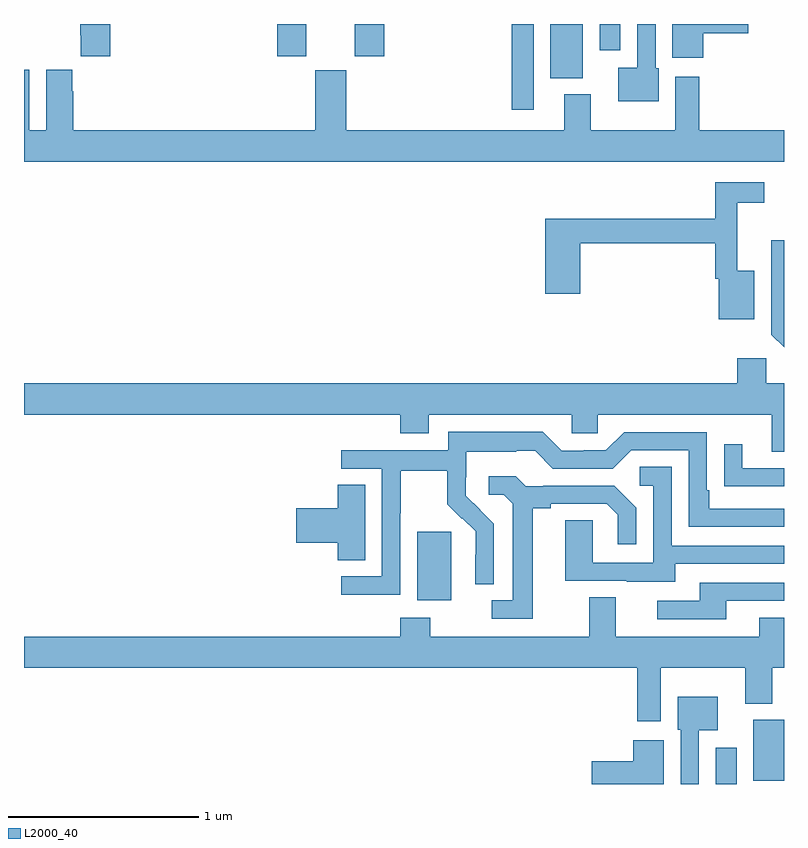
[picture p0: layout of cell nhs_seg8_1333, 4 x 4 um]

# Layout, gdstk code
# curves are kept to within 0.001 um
import gdstk
lib = gdstk.Library(unit=1e-6, precision=1e-09)
def R(c, l, rs):  # rectangles x0, y0, x1, y1
    for r in rs: c.add(gdstk.rectangle(r[:2], r[2:], *l))
def P(c, l, *ps):  # polygons
    for p in ps: c.add(gdstk.Polygon(p, *l))
L2000_40 = (2000, 40)

nhs_seg8_1333 = lib.new_cell('nhs_seg8_1333')
R(nhs_seg8_1333, L2000_40, [(198.641,1103.9,198.751,1104.091), (198.839,1103.918,199,1104.238), (197.069,1104.866,197.248,1105.227), (197.566,1107.45,197.682,1107.9), (197.771,1107.614,197.941,1107.9), (196.334,1107.729,196.486,1107.9), (196.742,1107.729,196.895,1107.9), (198.029,1107.762,198.139,1107.9)])
P(nhs_seg8_1333, L2000_40, [(198.575,1107.851),(198.811,1107.851),(198.811,1107.9),(198.413,1107.9),(198.413,1107.723),(198.575,1107.723)],
  [(198.34,1107.666),(198.324,1107.666),(198.324,1107.9),(198.228,1107.9),(198.228,1107.67),(198.128,1107.67),(198.128,1107.494),(198.34,1107.494)],
  [(195.455,1107.9),(195.295,1107.9),(195.295,1107.841),(195.299,1107.841),(195.299,1107.729),(195.455,1107.729)],
  [(199,1107.34),(198.554,1107.34),(198.554,1107.622),(198.428,1107.622),(198.428,1107.34),(197.983,1107.34),(197.983,1107.529),(197.843,1107.529),(197.843,1107.34),(196.696,1107.34),(196.696,1107.657),(196.532,1107.657),(196.532,1107.34),(195.26,1107.34),(195.26,1107.545),(195.253,1107.545),(195.253,1107.658),(195.116,1107.658),(195.116,1107.34),(195.028,1107.34),(195.028,1107.658),(195,1107.658),(195,1107.176),(199,1107.176)],
  [(198.844,1106.602),(198.755,1106.602),(198.755,1106.958),(198.895,1106.958),(198.895,1107.066),(198.637,1107.066),(198.637,1106.875),(197.744,1106.875),(197.744,1106.481),(197.927,1106.481),(197.927,1106.746),(198.637,1106.746),(198.637,1106.559),(198.656,1106.559),(198.656,1106.345),(198.844,1106.345)],
  [(199,1106.761),(198.933,1106.761),(198.933,1106.265),(199,1106.198)],
  [(199,1106.008),(198.906,1106.008),(198.906,1106.14),(198.755,1106.14),(198.755,1106.008),(195,1106.008),(195,1105.844),(196.979,1105.844),(196.979,1105.745),(197.131,1105.745),(197.131,1105.844),(197.883,1105.844),(197.883,1105.746),(198.021,1105.746),(198.021,1105.844),(198.935,1105.844),(198.935,1105.65),(199,1105.65)],
  [(196.98,1105.324),(196.983,1105.324),(196.983,1105.548),(197.227,1105.548),(197.227,1105.373),(197.304,1105.296),(197.307,1105.299),(197.378,1105.229),(197.378,1105.106),(197.376,1105.106),(197.376,1104.952),(197.472,1104.952),(197.472,1105.27),(197.326,1105.418),(197.326,1105.515),(197.328,1105.515),(197.328,1105.649),(197.591,1105.649),(197.591,1105.653),(197.691,1105.653),(197.784,1105.56),(198.099,1105.56),(198.195,1105.656),(198.498,1105.656),(198.498,1105.254),(199,1105.254),(199,1105.35),(198.607,1105.35),(198.607,1105.447),(198.594,1105.447),(198.594,1105.752),(198.159,1105.752),(198.063,1105.656),(197.945,1105.656),(197.945,1105.653),(197.829,1105.653),(197.729,1105.753),(197.232,1105.753),(197.232,1105.656),(196.671,1105.656),(196.671,1105.56),(196.884,1105.56),(196.884,1104.993),(196.671,1104.993),(196.671,1104.895),(196.98,1104.895)],
  [(199,1105.563),(198.781,1105.563),(198.781,1105.687),(198.685,1105.687),(198.685,1105.468),(198.787,1105.468),(198.787,1105.467),(199,1105.467)],
  [(198.427,1105.059),(199,1105.059),(199,1105.155),(198.408,1105.155),(198.408,1105.571),(198.24,1105.571),(198.24,1105.47),(198.312,1105.47),(198.312,1105.065),(197.994,1105.065),(197.994,1105.289),(197.849,1105.289),(197.849,1104.969),(198.173,1104.969),(198.173,1104.965),(198.427,1104.965)],
  [(197.677,1105.352),(197.773,1105.352),(197.773,1105.374),(198.068,1105.374),(198.125,1105.317),(198.125,1105.161),(198.222,1105.161),(198.222,1105.354),(198.106,1105.47),(197.734,1105.47),(197.734,1105.467),(197.64,1105.467),(197.588,1105.519),(197.445,1105.519),(197.445,1105.422),(197.526,1105.422),(197.573,1105.375),(197.573,1104.867),(197.463,1104.867),(197.463,1104.771),(197.677,1104.771)],
  [(196.795,1105.475),(196.652,1105.475),(196.652,1105.352),(196.434,1105.352),(196.434,1105.169),(196.652,1105.169),(196.652,1105.078),(196.795,1105.078)],
  [(198.697,1104.864),(199,1104.864),(199,1104.96),(198.557,1104.96),(198.557,1104.864),(198.333,1104.864),(198.333,1104.768),(198.697,1104.768)],
  [(198.352,1104.512),(198.797,1104.512),(198.797,1104.323),(198.937,1104.323),(198.937,1104.512),(199,1104.512),(199,1104.775),(198.869,1104.775),(198.869,1104.676),(198.115,1104.676),(198.115,1104.884),(197.975,1104.884),(197.975,1104.676),(197.139,1104.676),(197.139,1104.775),(196.979,1104.775),(196.979,1104.676),(195,1104.676),(195,1104.512),(198.227,1104.512),(198.227,1104.231),(198.352,1104.231)],
  [(198.552,1104.182),(198.652,1104.182),(198.652,1104.358),(198.44,1104.358),(198.44,1104.186),(198.456,1104.186),(198.456,1103.9),(198.552,1103.9)],
  [(198.367,1104.13),(198.206,1104.13),(198.206,1104.02),(197.988,1104.02),(197.988,1103.9),(198.367,1103.9)])

lib.write_gds('nhs_seg8_1333.gds')
